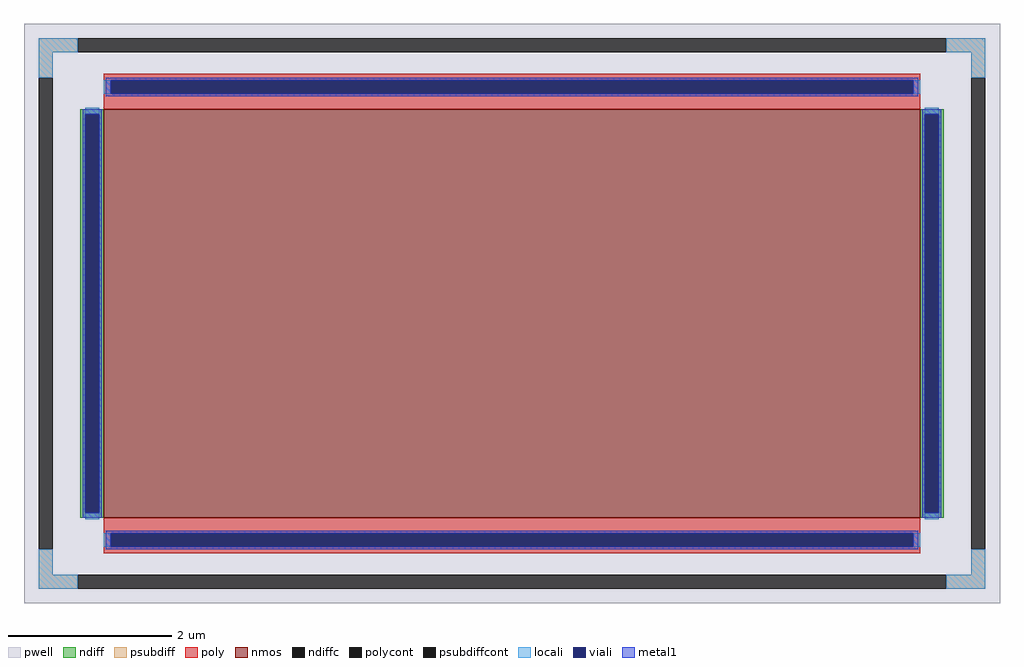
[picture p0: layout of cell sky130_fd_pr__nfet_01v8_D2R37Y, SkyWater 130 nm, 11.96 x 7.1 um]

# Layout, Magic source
magic
tech sky130A
<< pwell >>
rect -598 -355 598 355
<< nmos >>
rect -500 -250 500 250
<< ndiff >>
rect -529 244 -500 250
rect -529 -244 -523 244
rect -506 -244 -500 244
rect -529 -250 -500 -244
rect 500 244 529 250
rect 500 -244 506 244
rect 523 -244 529 244
rect 500 -250 529 -244
<< ndiffc >>
rect -523 -244 -506 244
rect 506 -244 523 244
<< psubdiff >>
rect -580 320 -532 337
rect 532 320 580 337
rect -580 289 -563 320
rect 563 289 580 320
rect -580 -320 -563 -289
rect 563 -320 580 -289
rect -580 -337 -532 -320
rect 532 -337 580 -320
<< psubdiffcont >>
rect -532 320 532 337
rect -580 -289 -563 289
rect 563 -289 580 289
rect -532 -337 532 -320
<< poly >>
rect -500 286 500 294
rect -500 269 -492 286
rect 492 269 500 286
rect -500 250 500 269
rect -500 -269 500 -250
rect -500 -286 -492 -269
rect 492 -286 500 -269
rect -500 -294 500 -286
<< polycont >>
rect -492 269 492 286
rect -492 -286 492 -269
<< locali >>
rect -580 320 -532 337
rect 532 320 580 337
rect -580 289 -563 320
rect 563 289 580 320
rect -500 269 -492 286
rect 492 269 500 286
rect -523 244 -506 252
rect -523 -252 -506 -244
rect 506 244 523 252
rect 506 -252 523 -244
rect -500 -286 -492 -269
rect 492 -286 500 -269
rect -580 -320 -563 -289
rect 563 -320 580 -289
rect -580 -337 -532 -320
rect 532 -337 580 -320
<< viali >>
rect -492 269 492 286
rect -523 -244 -506 244
rect 506 -244 523 244
rect -492 -286 492 -269
<< metal1 >>
rect -498 286 498 289
rect -498 269 -492 286
rect 492 269 498 286
rect -498 266 498 269
rect -526 244 -503 250
rect -526 -244 -523 244
rect -506 -244 -503 244
rect -526 -250 -503 -244
rect 503 244 526 250
rect 503 -244 506 244
rect 523 -244 526 244
rect 503 -250 526 -244
rect -498 -269 498 -266
rect -498 -286 -492 -269
rect 492 -286 498 -269
rect -498 -289 498 -286
<< properties >>
string FIXED_BBOX -571 -328 571 328
string gencell sky130_fd_pr__nfet_01v8
string library sky130
string parameters w 5 l 10 m 1 nf 1 diffcov 100 polycov 100 guard 1 glc 1 grc 1 gtc 1 gbc 1 tbcov 100 rlcov 100 topc 1 botc 1 poverlap 0 doverlap 1 lmin 0.15 wmin 0.42 compatible {sky130_fd_pr__nfet_01v8 sky130_fd_pr__nfet_01v8_lvt  sky130_fd_bs_flash__special_sonosfet_star  sky130_fd_pr__nfet_g5v0d10v5 sky130_fd_pr__nfet_05v0_nvt  sky130_fd_pr__nfet_03v3_nvt} full_metal 1 viasrc 100 viadrn 100 viagate 100 viagb 0 viagr 0 viagl 0 viagt 0
<< end >>
